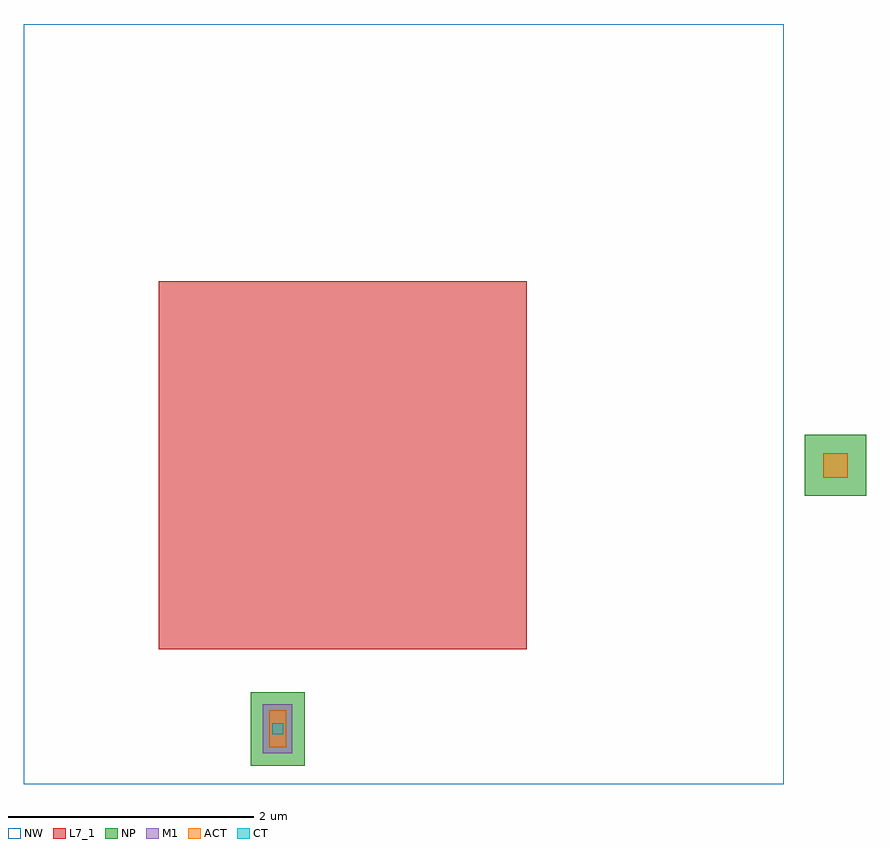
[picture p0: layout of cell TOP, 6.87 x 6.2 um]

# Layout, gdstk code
import gdstk
lib = gdstk.Library(unit=1e-6, precision=1e-09)
def R(c, l, rs):  # rectangles x0, y0, x1, y1
    for r in rs: c.add(gdstk.rectangle(r[:2], r[2:], *l))
ACT = (2, 1)
L7_1 = (7, 1)
NW = (9, 1)
NP = (52, 1)
CT = (72, 1)
M1 = (81, 1)

top = lib.new_cell('TOP')
R(top, ACT, [(2,0.3,2.14,0.6), (6.52,2.5,6.72,2.7)])
R(top, L7_1, [(1.1,1.1,4.1,4.1)])
R(top, NW, [(0,0,6.2,6.2)])
R(top, NP, [(1.85,0.15,2.29,0.75), (6.37,2.35,6.87,2.85)])
R(top, CT, [(2.025,0.405,2.115,0.495)])
R(top, M1, [(1.95,0.25,2.19,0.65)])

lib.write_gds('TOP.gds')
